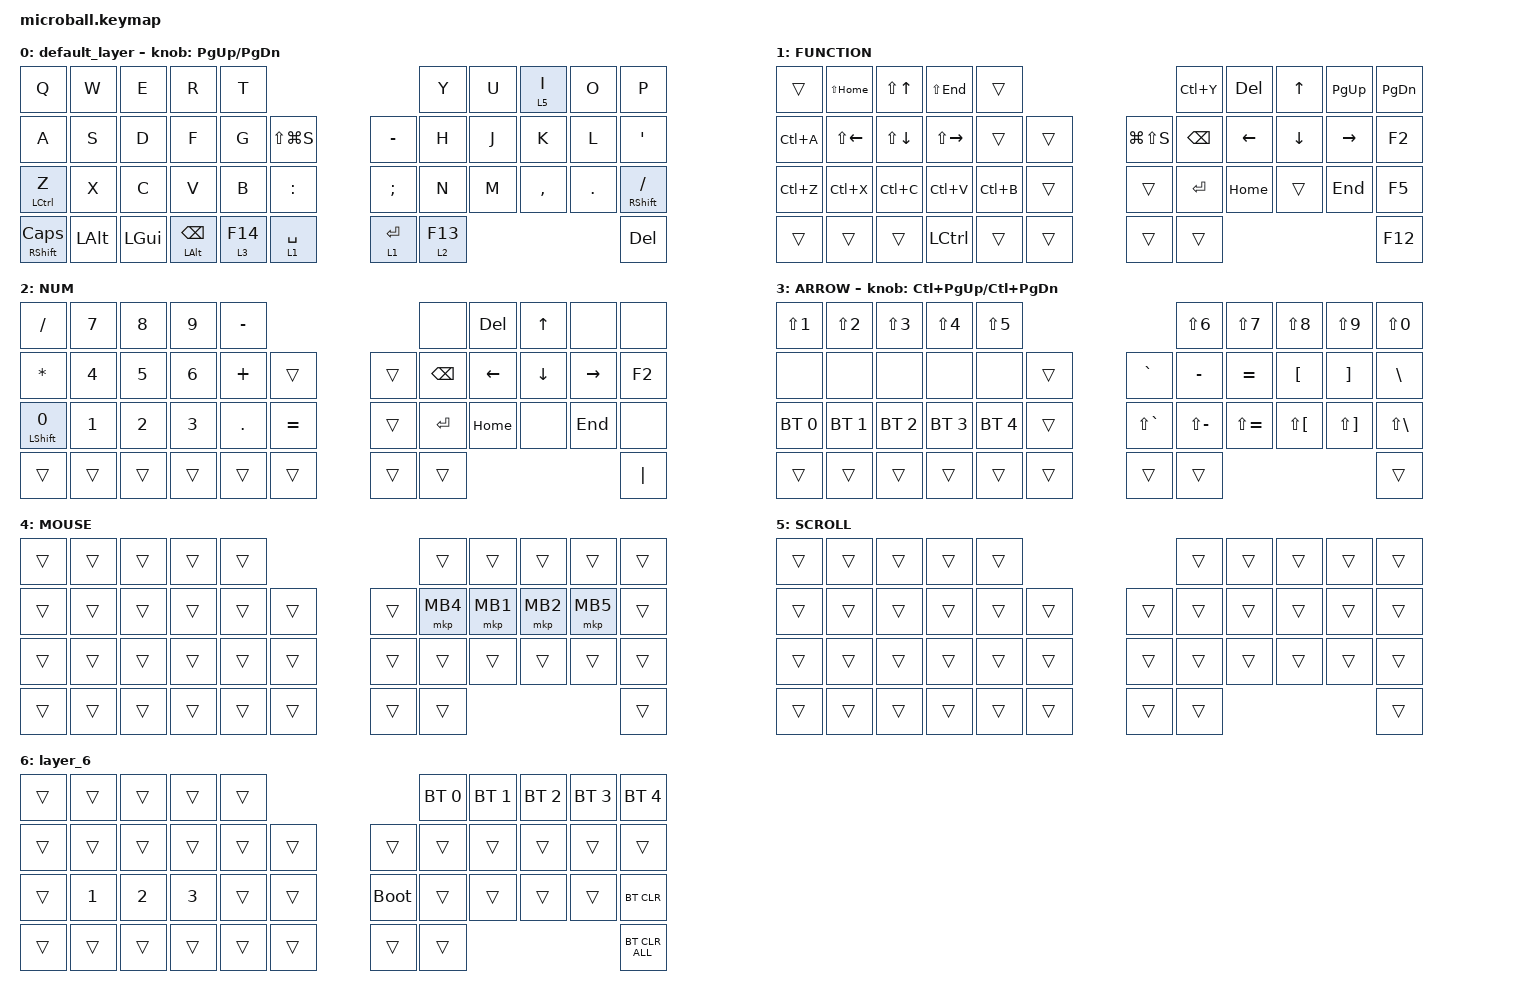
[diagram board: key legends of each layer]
#include <input/processors.dtsi>
#include <behaviors.dtsi>
#include <dt-bindings/zmk/bt.h>
#include <dt-bindings/zmk/keys.h>
#include <dt-bindings/zmk/pointing.h>

#define MOUSE 4
#define SCROLL 5
#define NUM 6

&mt {
    flavor = "balanced";
    quick-tap-ms = <0>;
};

//マウスキーを押したらタイムアウトを10秒延長

&mkp_input_listener { input-processors = <&zip_temp_layer 4 10000>; };

/ {
    combos {
        compatible = "zmk,combos";

        tab {
            bindings = <&kp TAB>;
            key-positions = <11 12>;
        };

        shift_tab {
            bindings = <&kp LS(TAB)>;
            key-positions = <12 13>;
        };

        muhennkann {
            bindings = <&to_layer_0 INT_MUHENKAN>;
            key-positions = <11 10>;
        };
    };

    macros {
        to_layer_0: to_layer_0 {
            compatible = "zmk,behavior-macro-one-param";
            #binding-cells = <1>;
            bindings = <&to 0 &macro_param_1to1 &kp MACRO_PLACEHOLDER>;
            label = "TO_LAYER_0";
        };
    };

    behaviors {
        lt_to_layer_0: lt_to_layer_0 {
            compatible = "zmk,behavior-hold-tap";
            label = "LAYER_TAP_TO_0";
            bindings = <&mo>, <&to_layer_0>;

            #binding-cells = <2>;
            tapping-term-ms = <200>;
        };
    };

    keymap {
        compatible = "zmk,keymap";

        default_layer {
            bindings = <
&kp Q                     &kp W         &kp E         &kp R                   &kp T                                                 &kp Y      &kp U  &lt 5 I    &kp O    &kp P
&kp A                     &kp S         &kp D         &kp F                   &kp G      &kp LS(LG(S))               &kp MINUS      &kp H      &kp J  &kp K      &kp L    &kp SQT
&mt LEFT_CONTROL Z        &kp X         &kp C         &kp V                   &kp B      &kp COLON                   &kp SEMICOLON  &kp N      &kp M  &kp COMMA  &kp DOT  &mt RIGHT_SHIFT SLASH
&mt RIGHT_SHIFT CAPSLOCK  &kp LEFT_ALT  &kp LEFT_GUI  &mt LEFT_ALT BACKSPACE  &lt 3 F14  &lt_to_layer_0 1 SPACE      &lt 1 ENTER    &lt 2 F13                             &kp DEL
            >;

            sensor-bindings = <&inc_dec_kp PG_UP PAGE_DOWN>;
        };

        FUNCTION {
            bindings = <
&trans     &kp LS(HOME)        &kp LS(UP_ARROW)    &kp LS(END)       &trans                                &kp LC(Y)      &kp DELETE      &kp UP_ARROW    &kp PAGE_UP      &kp PAGE_DOWN
&kp LC(A)  &kp LS(LEFT_ARROW)  &kp LS(DOWN_ARROW)  &kp LS(RIGHT)     &trans     &trans      &kp LG(LS(S))  &kp BACKSPACE  &kp LEFT_ARROW  &kp DOWN_ARROW  &kp RIGHT_ARROW  &kp F2
&kp LC(Z)  &kp LC(X)           &kp LC(C)           &kp LC(V)         &kp LC(B)  &trans      &trans         &kp RET        &kp HOME        &trans          &kp END          &kp F5
&trans     &trans              &trans              &kp LEFT_CONTROL  &trans     &trans      &trans         &trans                                                          &kp F12
            >;
        };

        NUM {
            bindings = <
&kp SLASH                &kp N7        &kp N8        &kp NUMBER_9  &kp MINUS                          &none          &kp DELETE  &kp UP_ARROW    &none      &none
&kp STAR                 &kp NUMBER_4  &kp N5        &kp NUMBER_6  &kp PLUS    &trans         &trans  &kp BACKSPACE  &kp LEFT    &kp DOWN_ARROW  &kp RIGHT  &kp F2
&mt LEFT_SHIFT NUMBER_0  &kp NUMBER_1  &kp NUMBER_2  &kp NUMBER_3  &kp PERIOD  &kp EQUAL      &trans  &kp RET        &kp HOME    &none           &kp END    &none
&trans                   &trans        &trans        &trans        &trans      &trans         &trans  &trans                                                &kp PIPE
            >;
        };

        ARROW {
            bindings = <
&kp LS(NUMBER_1)  &kp LS(NUMBER_2)  &kp LS(NUMBER_3)  &kp LS(NUMBER_4)  &kp LS(N5)                               &kp LS(NUMBER_6)  &kp LS(N7)     &kp LS(N8)            &kp LS(N9)             &kp LS(N0)
&none             &none             &none             &none             &none         &trans      &kp GRAVE      &kp MINUS         &kp EQUAL      &kp LEFT_BRACKET      &kp RIGHT_BRACKET      &kp BACKSLASH
&bt BT_SEL 0      &bt BT_SEL 1      &bt BT_SEL 2      &bt BT_SEL 3      &bt BT_SEL 4  &trans      &kp LS(GRAVE)  &kp LS(MINUS)     &kp LS(EQUAL)  &kp LS(LEFT_BRACKET)  &kp LS(RIGHT_BRACKET)  &kp LS(BACKSLASH)
&trans            &trans            &trans            &trans            &trans        &trans      &trans         &trans                                                                        &trans
            >;

            sensor-bindings = <&inc_dec_kp LC(PAGE_UP) LC(PAGE_DOWN)>;
        };

        MOUSE {
            bindings = <
&trans  &trans  &trans  &trans  &trans                      &trans    &trans    &trans    &trans    &trans
&trans  &trans  &trans  &trans  &trans  &trans      &trans  &mkp MB4  &mkp MB1  &mkp MB2  &mkp MB5  &trans
&trans  &trans  &trans  &trans  &trans  &trans      &trans  &trans    &trans    &trans    &trans    &trans
&trans  &trans  &trans  &trans  &trans  &trans      &trans  &trans                                  &trans
            >;
        };

        SCROLL {
            bindings = <
&trans  &trans  &trans  &trans  &trans                      &trans  &trans  &trans  &trans  &trans
&trans  &trans  &trans  &trans  &trans  &trans      &trans  &trans  &trans  &trans  &trans  &trans
&trans  &trans  &trans  &trans  &trans  &trans      &trans  &trans  &trans  &trans  &trans  &trans
&trans  &trans  &trans  &trans  &trans  &trans      &trans  &trans                          &trans
            >;
        };

        layer_6 {
            bindings = <
&trans  &trans        &trans        &trans        &trans                           &bt BT_SEL 0  &bt BT_SEL 1  &bt BT_SEL 2  &bt BT_SEL 3  &bt BT_SEL 4
&trans  &trans        &trans        &trans        &trans  &trans      &trans       &trans        &trans        &trans        &trans        &trans
&trans  &kp NUMBER_1  &kp NUMBER_2  &kp NUMBER_3  &trans  &trans      &bootloader  &trans        &trans        &trans        &trans        &bt BT_CLR
&trans  &trans        &trans        &trans        &trans  &trans      &trans       &trans                                                  &bt BT_CLR_ALL
            >;
        };
    };
};
